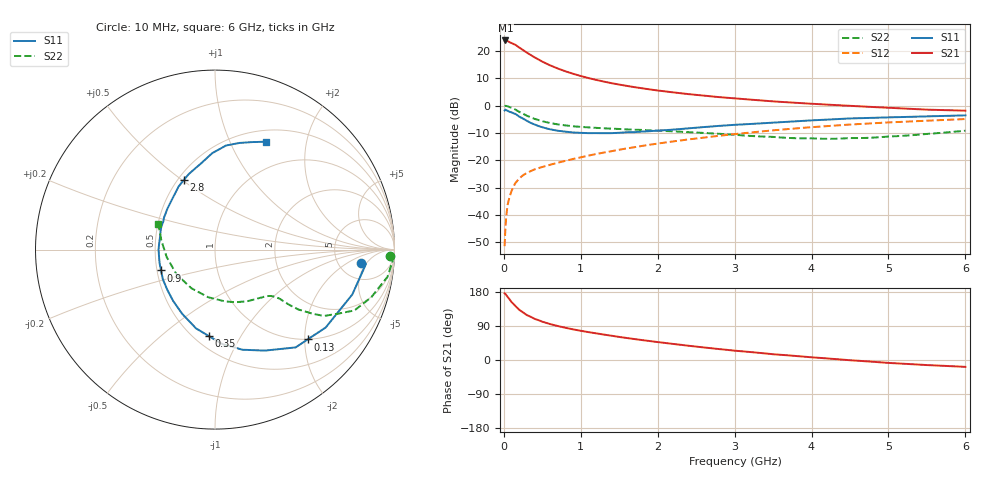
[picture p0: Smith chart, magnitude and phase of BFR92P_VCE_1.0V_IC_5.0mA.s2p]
! Infineon Technologies  Discrete & RF Semiconductors
! BFR92P
! VCE =  1.0 V,  IC =  5.0 mA
! Common Emitter S-Parameters:  Apr 2014
# GHz  S  MA  R  50
!  f  S11  S21  S12  S22
! GHz  MAG  ANG  MAG  ANG  MAG  ANG  MAG  ANG
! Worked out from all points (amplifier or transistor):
!   77 points, 10 MHz to 6 GHz, reference 50 ohm
!   highest |S21| = 23.8 dB at 20 MHz (marker M1)
!   |S21| within 3 dB of that: start of sweep to 222.3 MHz
!   unconditionally stable (mu >= 1): 918.5 MHz to 3.129 GHz
!   at 130 MHz: K = 0.24, MSG = 25.9 dB, |S12| = -29.4 dB
!   at 2.2 GHz: K = 1.07, MAG = 7.3 dB, |S12| = -13.1 dB
!   at 6 GHz: K = 0.92, MSG = 1.5 dB, |S12| = -4.9 dB
!   S11 on the Smith chart (normalised r, x): 10 MHz: 8.22, -3.63; 130 MHz: 1.00, -2.07; 350 MHz: 0.59, -0.74; 900 MHz: 0.53, -0.14; 2.8 GHz: 0.54, +0.51; 6 GHz: 0.64, +1.37
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0.01  0.8156 -5.2  15.12 175.9  0.0027 86.7  0.9772 -2.0
0.02  0.8451 -5.4  15.5 174.5  0.0056 88.7  0.9915 -3.7
0.05  0.8049 -18.1  15.11 166.3  0.0155 79.3  0.9728 -9.0
0.1  0.7542 -35.1  13.91 152.8  0.0274 72.3  0.9108 -16.9
0.13  0.719 -44.1  13.26 146.8  0.034 68.6  0.8712 -20.8
0.15  0.7062 -50.5  12.92 142.5  0.0385 66.8  0.8472 -23.6
0.2  0.6277 -63.7  11.51 132.5  0.0465 61.8  0.7694 -27.7
0.3  0.5262 -85.9  9.27 118.4  0.059 56.0  0.6516 -33.3
0.35  0.4832 -94.0  8.406 114.0  0.0636 55.0  0.6114 -34.4
0.4  0.4516 -103.5  7.604 108.6  0.0683 54.2  0.5715 -35.7
0.5  0.4018 -117.1  6.369 101.1  0.0756 53.8  0.5183 -36.6
0.6  0.369 -129.2  5.451 94.9  0.0827 54.0  0.4803 -37.0
0.7  0.3476 -139.9  4.767 89.7  0.0904 54.4  0.454 -37.2
0.9  0.3225 -158.9  3.817 80.8  0.1059 55.8  0.4195 -38.6
1.1  0.3141 -173.4  3.188 73.6  0.1219 56.8  0.4002 -40.2
1.5  0.3187 162.6  2.421 60.9  0.1562 57.1  0.3741 -45.4
2.1  0.3559 135.8  1.816 44.9  0.2118 54.7  0.3431 -56.1
2.8  0.4262 113.8  1.428 28.8  0.2811 49.6  0.3054 -72.7
3.1  0.453 106.9  1.322 22.9  0.3112 46.3  0.2859 -82.8
4.1  0.5455 90.1  1.062 5.7  0.4125 35.1  0.2487 -126.6
5.1  0.6142 75.7  0.899 -8.8  0.4997 21.9  0.276 -175.2
6  0.6634 64.9  0.808 -18.1  0.568 9.8  0.3478 155.4
